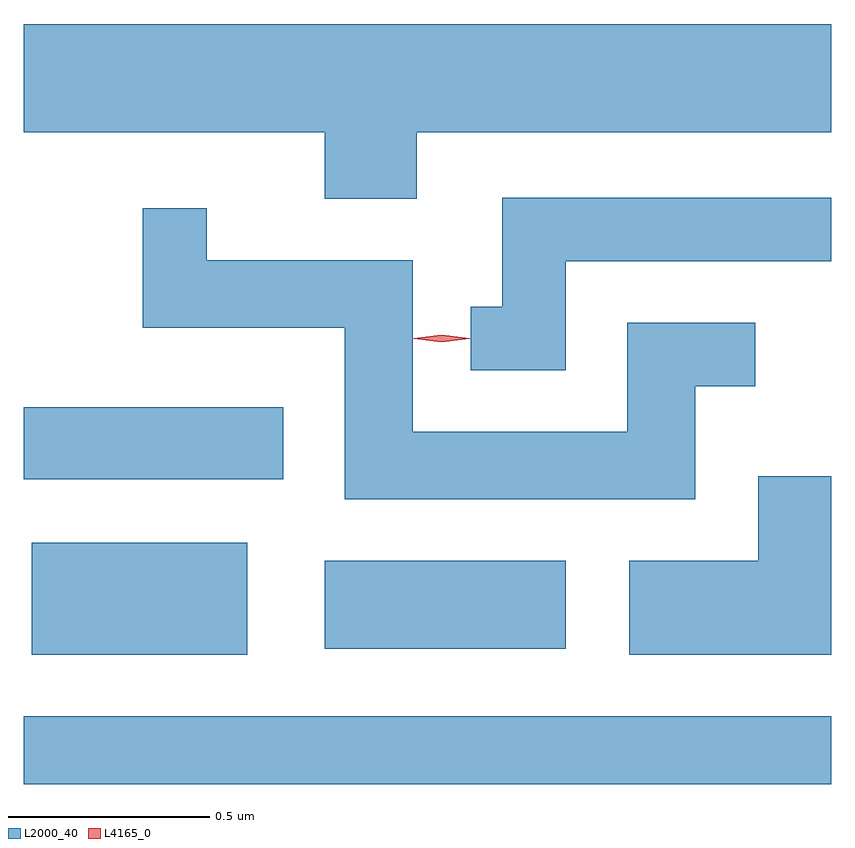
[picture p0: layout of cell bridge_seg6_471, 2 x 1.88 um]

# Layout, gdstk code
import gdstk
lib = gdstk.Library(unit=1e-6, precision=1e-09)
def R(c, l, rs):  # rectangles x0, y0, x1, y1
    for r in rs: c.add(gdstk.rectangle(r[:2], r[2:], *l))
def P(c, l, *ps):  # polygons
    for p in ps: c.add(gdstk.Polygon(p, *l))
L2000_40 = (2000, 40)
L4165_0 = (4165, 0)

bridge_seg6_471 = lib.new_cell('bridge_seg6_471')
R(bridge_seg6_471, L2000_40, [(809.466,1641.661,811.466,1641.829), (809.486,1641.981,810.019,1642.259), (810.211,1641.996,810.809,1642.214), (809.466,1642.416,810.109,1642.594)])
P(bridge_seg6_471, L2000_40, [(810.439,1643.276),(811.466,1643.276),(811.466,1643.544),(809.466,1643.544),(809.466,1643.276),(810.211,1643.276),(810.211,1643.111),(810.439,1643.111)],
  [(810.809,1642.956),(811.466,1642.956),(811.466,1643.114),(810.651,1643.114),(810.651,1642.844),(810.573,1642.844),(810.573,1642.686),(810.809,1642.686)],
  [(811.129,1642.646),(811.278,1642.646),(811.278,1642.804),(810.961,1642.804),(810.961,1642.534),(810.429,1642.534),(810.429,1642.959),(809.919,1642.959),(809.919,1643.088),(809.761,1643.088),(809.761,1642.791),(810.261,1642.791),(810.261,1642.366),(811.129,1642.366)],
  [(811.466,1642.424),(811.286,1642.424),(811.286,1642.214),(810.966,1642.214),(810.966,1641.981),(811.466,1641.981)])
P(bridge_seg6_471, L4165_0, [(810.501,1642.755),(810.432,1642.764),(810.432,1642.764),(810.432,1642.765),(810.501,1642.774),(810.571,1642.765),(810.571,1642.765),(810.571,1642.764)])

lib.write_gds('bridge_seg6_471.gds')
